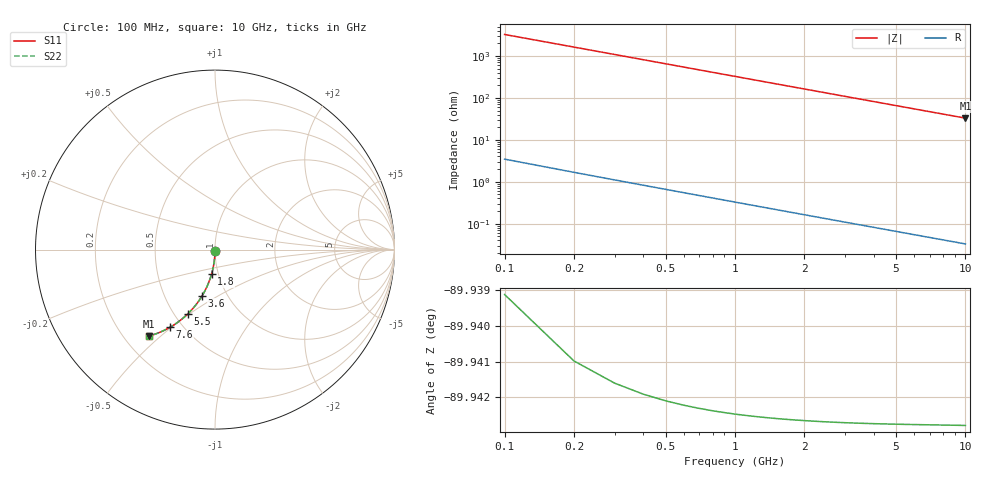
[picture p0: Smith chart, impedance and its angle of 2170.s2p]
# Hz S RI R 50.00
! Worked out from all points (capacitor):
!   100 points, 100 MHz to 10 GHz, reference 50 ohm
!   read as one part in shunt: C = 489 fF near 100 MHz
!   lowest |Z| = 32.9 ohm at 10 GHz (marker M1)
!   S11 on the Smith chart (normalised r, x): 100 MHz: 1.00, -0.02; 1.8 GHz: 0.93, -0.26; 3.6 GHz: 0.77, -0.42; 5.5 GHz: 0.59, -0.49; 7.6 GHz: 0.43, -0.49; 10 GHz: 0.30, -0.46
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1e8  -6.59e-05 -0.00768  0.9999 -0.00768  0.9999 -0.00768  -6.59e-05 -0.00768
2e8  -0.000251 -0.0154  0.9997 -0.0154  0.9997 -0.0154  -0.000251 -0.0154
3e8  -0.000553 -0.023  0.9994 -0.023  0.9994 -0.023  -0.000553 -0.023
4e8  -0.000973 -0.0307  0.999 -0.0307  0.999 -0.0307  -0.000973 -0.0307
5e8  -0.00151 -0.0383  0.9985 -0.0384  0.9985 -0.0384  -0.00151 -0.0383
6e8  -0.00216 -0.046  0.9978 -0.046  0.9978 -0.046  -0.00216 -0.046
8e8  -0.00382 -0.0612  0.9962 -0.0612  0.9962 -0.0612  -0.00382 -0.0612
1.1e9  -0.00716 -0.0838  0.9928 -0.0839  0.9928 -0.0839  -0.00716 -0.0838
1.4e9  -0.0115 -0.1061  0.9885 -0.1062  0.9885 -0.1062  -0.0115 -0.1061
1.8e9  -0.0188 -0.1354  0.9812 -0.1355  0.9812 -0.1355  -0.0188 -0.1354
2.1e9  -0.0254 -0.1568  0.9746 -0.157  0.9746 -0.157  -0.0254 -0.1568
2.5e9  -0.0356 -0.1847  0.9644 -0.1848  0.9644 -0.1848  -0.0356 -0.1847
2.9e9  -0.0472 -0.2115  0.9528 -0.2117  0.9528 -0.2117  -0.0472 -0.2115
3.4e9  -0.0637 -0.2436  0.9363 -0.2438  0.9363 -0.2438  -0.0637 -0.2436
3.6e9  -0.0708 -0.2558  0.9292 -0.2561  0.9292 -0.2561  -0.0708 -0.2558
4.3e9  -0.0978 -0.2964  0.9022 -0.2967  0.9022 -0.2967  -0.0978 -0.2964
5.1e9  -0.132 -0.3379  0.868 -0.3382  0.868 -0.3382  -0.132 -0.3379
5.5e9  -0.1502 -0.3566  0.8498 -0.3569  0.8498 -0.3569  -0.1502 -0.3566
6.7e9  -0.2072 -0.4046  0.7928 -0.405  0.7928 -0.405  -0.2072 -0.4046
7.6e9  -0.2513 -0.433  0.7487 -0.4335  0.7487 -0.4335  -0.2513 -0.433
8.4e9  -0.2904 -0.4532  0.7096 -0.4537  0.7096 -0.4537  -0.2904 -0.4532
1e10  -0.3664 -0.481  0.6336 -0.4816  0.6336 -0.4816  -0.3664 -0.481
